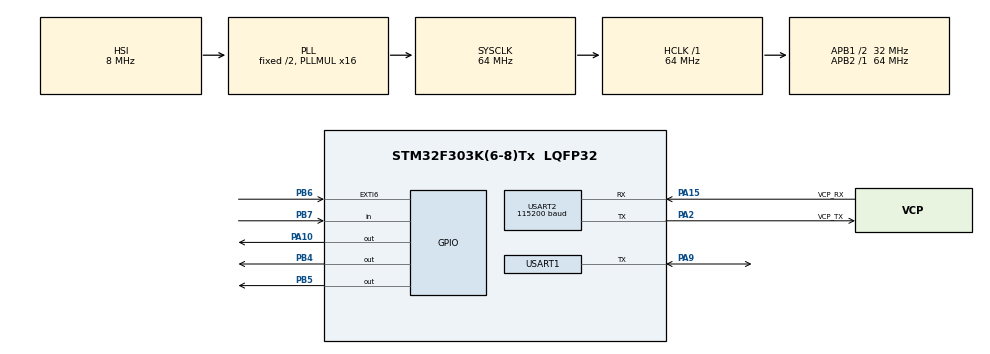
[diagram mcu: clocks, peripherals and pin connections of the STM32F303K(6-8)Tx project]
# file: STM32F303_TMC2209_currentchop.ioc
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Mcu.Family=STM32F3
Mcu.Name=STM32F303K(6-8)Tx
Mcu.Package=LQFP32
NVIC.EXTI9_5_IRQn=true\:0\:0\:false\:false\:true\:true\:true\:true
NVIC.PriorityGroup=NVIC_PRIORITYGROUP_4
NVIC.TIM3_IRQn=true\:0\:0\:false\:false\:true\:true\:true\:true
NVIC.USART2_IRQn=true\:0\:0\:false\:false\:true\:true\:true\:true
PA10.Signal=GPIO_Output
PA13.GPIO_Label=SWDIO
PA13.Mode=Serial_Wire
PA13.Signal=SYS_JTMS-SWDIO
PA14.GPIO_Label=SWCLK
PA14.Mode=Serial_Wire
PA14.Signal=SYS_JTCK-SWCLK
PA15.GPIO_Label=VCP_RX
PA15.Mode=Asynchronous
PA15.Signal=USART2_RX
PA2.GPIO_Label=VCP_TX
PA2.Mode=Asynchronous
PA2.Signal=USART2_TX
PA9.Mode=Half_duplex(single_wire_mode)
PA9.Signal=USART1_TX
PB4.Signal=GPIO_Output
PB5.Signal=GPIO_Output
PB6.GPIO_ModeDefaultEXTI=GPIO_MODE_IT_RISING_FALLING
PB6.Signal=GPXTI6
PB7.Signal=GPIO_Input
PF0\ /\ OSC_IN.GPIO_Label=MCO
PF0\ /\ OSC_IN.Signal=RCC_OSC_IN
ProjectManager.HeapSize=0x200
ProjectManager.StackSize=0x400
ProjectManager.TargetToolchain=STM32CubeIDE
RCC.AHBFreq_Value=64000000
RCC.APB1CLKDivider=RCC_HCLK_DIV2
RCC.APB1Freq_Value=32000000
RCC.APB1TimFreq_Value=64000000
RCC.APB2Freq_Value=64000000
RCC.APB2TimFreq_Value=64000000
RCC.CortexFreq_Value=64000000
RCC.HCLKFreq_Value=64000000
RCC.HSE_VALUE=8000000
RCC.HSI_VALUE=8000000
RCC.PLLMUL=RCC_PLL_MUL16
RCC.SYSCLKFreq_VALUE=64000000
RCC.SYSCLKSourceVirtual=RCC_SYSCLKSOURCE_PLLCLK
TIM3.Channel-Output\ Compare1\ No\ Output=TIM_CHANNEL_1
TIM3.Prescaler=1280-1
USART1.BaudRate=115200
USART1.VirtualMode-Half_duplex(single_wire_mode)=VM_ASYNC
USART2.BaudRate=115200
USART2.VirtualMode-Asynchronous=VM_ASYNC
VP_TIM3_VS_ClockSourceINT.Mode=Internal
VP_TIM3_VS_no_output1.Mode=Output Compare1 No Output
board=NUCLEO-F303K8

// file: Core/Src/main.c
/* USER CODE BEGIN Header */
/**
  ******************************************************************************
  * @file           : main.c
  * @brief          : Main program body
  ******************************************************************************
  * @attention
  *
  * Copyright (c) 2022 STMicroelectronics.
  * All rights reserved.
  *
  * This software is licensed under terms that can be found in the LICENSE file
  * in the root directory of this software component.
  * If no LICENSE file comes with this software, it is provided AS-IS.
  *
  ******************************************************************************
  */
/* USER CODE END Header */
#include "main.h"

/* USER CODE BEGIN Includes */
#include <stdio.h>
#include "tmc/ic/TMC2209/TMC2209.h"
#include <math.h>

/* USER CODE END Includes */

/* USER CODE BEGIN PTD */
typedef struct {
	float acceleration;
	volatile unsigned int minStepInterval;
	void (*dirFunc)(int);
	void (*stepFunc)();

	uint8_t homing;
	unsigned int c0;
	volatile int stepPosition;

	volatile int dir; // 1 or -1
	volatile int dir_inv; //set 1 to reverse the dir

	volatile int pull_off; //set pull_off distance

	volatile int seeking_vel;
	volatile int homing_vel;

	volatile unsigned int totalSteps;

	volatile char movementDone;
	volatile unsigned int rampUpStepCount;
	volatile unsigned int n; // index
	volatile float d; // current interval length
	volatile unsigned long di; // d -> unsigned  di
	volatile unsigned int stepCount;
}stepperInfo;

/* USER CODE END PTD */

/* USER CODE BEGIN PD */
#define TMC2209_CRC(data, length) tmc_CRC8(data, length, 1)
#define NUM_STEPPERS 1

/* USER CODE END PD */

 TIM_HandleTypeDef htim3;

UART_HandleTypeDef huart1;
UART_HandleTypeDef huart2;

/* USER CODE BEGIN PV */
//static TMC2209TypeDef TMC2209; //TMC2209の設定などの定義
//static ConfigurationTypeDef *TMC2209_config; //TMC2209の設定
TMC2209TypeDef TMC2209; //TMC2209の設定などの定義
ConfigurationTypeDef TMC2209_config; //TMC2209の設定
volatile stepperInfo steppers[NUM_STEPPERS];
uint8_t end_stop_state = 0;
uint8_t homing_flag = 0;
/* USER CODE END PV */

void SystemClock_Config(void);
static void MX_GPIO_Init(void);
static void MX_USART2_UART_Init(void);
static void MX_USART1_UART_Init(void);
static void MX_TIM3_Init(void);
/* USER CODE BEGIN PFP */
static void periodicJob(uint32_t tick);
static uint8_t reset(void);
static uint8_t restore(void);
//static TMC2209TypeDef TMC2209;

/* USER CODE END PFP */

/* USER CODE BEGIN 0 */

/*void HAL_TIM_PeriodElapsedCallback(TIM_HandleTypeDef *htim)
{
    if (htim == &htim3){ //htim3に設定したタイマー割り込みの時間で発火する
        HAL_GPIO_TogglePin(GPIOB, GPIO_PIN_10);//ピンの出力を切り替え
    }
}*/

void tmc2209_readWriteArray(uint8_t channel, uint8_t *data, size_t writeLength, size_t readLength)
{
	//set your uart read write
	//UART_readWrite(channelToUART(channel), data, writeLength, readLength);
	HAL_HalfDuplex_EnableTransmitter(&huart1);
	HAL_UART_Transmit(&huart1, data, writeLength,3000);

	if(readLength > 0){
		HAL_HalfDuplex_EnableReceiver(&huart1);
		HAL_UART_Receive(&huart1, data, readLength, 3000);
	}
}

uint8_t tmc2209_CRC8(uint8_t *data, size_t length)
{
	return TMC2209_CRC(data, length);
}

static void periodicJob(uint32_t tick)
{

	tmc2209_periodicJob(&TMC2209, tick);

	//StepDir_periodicJob(0);
}

static uint8_t reset()
{
	//StepDir_init(STEPDIR_PRECISION);
	//StepDir_setPins(0, Pins.STEP, Pins.DIR, Pins.DIAG);

	return tmc2209_reset(&TMC2209);
}

static uint8_t restore()
{
	return tmc2209_restore(&TMC2209);
}

void TMC2209_INIT()
{
	tmc_fillCRC8Table(0x07, true, 1);

	TMC2209_config.reset = reset;
	TMC2209_config.restore = restore;
	tmc2209_init(&TMC2209, 0, 0, &TMC2209_config, &tmc2209_defaultRegisterResetState[0]);

	//restore();
}

static inline TMC2209TypeDef *motorToIC(uint8_t motor)
{
	UNUSED(motor);

	return &TMC2209;
}

void HAL_GPIO_EXTI_Callback(uint16_t GPIO_Pin)
{

	//stepper 0 end stop senssor
	if(GPIO_Pin == GPIO_PIN_10 ){
		if(!HAL_GPIO_ReadPin(GPIOA, GPIO_PIN_10)){
			end_stop_state |= 1;
		}
		if(HAL_GPIO_ReadPin(GPIOA, GPIO_PIN_10)){
			end_stop_state &= ~1;
		}
	}
}

void sensorStateInit(){							//割り込みリセット
	if( ! HAL_GPIO_ReadPin(GPIOA, GPIO_PIN_10)){	//割り込みピンが真でない(1でない=0なら)
		end_stop_state |= 1;					//end_stop_stateに左辺か右辺が1なら1を代入
	}
}

void Step0(){
	//pull+

	HAL_GPIO_WritePin(GPIOB, GPIO_PIN_5, GPIO_PIN_RESET);
	HAL_GPIO_WritePin(GPIOB, GPIO_PIN_5, GPIO_PIN_SET);
	/*
	 * pull-
	 * HAL_GPIO_WritePin(GPIOB, GPIO_PIN_5, GPIO_PIN_SET);
	 * HAL_GPIO_WritePin(GPIOB, GPIO_PIN_5, GPIO_PIN_RESET);
	 */
}

void Dir0(int dir){
	HAL_GPIO_WritePin(GPIOB, GPIO_PIN_4, dir);
}

void resetStepperInfo(stepperInfo * si){
	si->n = 0;
	si->d = 0;
	si->di = 0;
	si->stepCount = 0;
	si->rampUpStepCount = 0;
	si->totalSteps = 0;
	si->stepPosition = 0;
	si->movementDone = 0;
}

void resetStepper(volatile stepperInfo* si){
	si->c0 = si->acceleration;
	si->d = si->c0;
	si->di = si->d;
	si->stepCount = 0;
	si->n = 0;
	si->rampUpStepCount = 0;
	si->movementDone = 0;
}

volatile uint8_t remainingSteppersFlag = 0;

void prepareMovement(int whichMotor, int steps){
	if(steps == 0){
		return;
	}
	volatile stepperInfo* si = &steppers[whichMotor];
	if(si->dir_inv){
		si->dirFunc( steps < 0 ? 0 : 1);
		si->dir = steps > 0 ? -1:1;
	}else{
		si->dirFunc( steps < 0 ? 1 : 0);
		si->dir = steps > 0 ? 1:-1;
	}

	si->totalSteps = abs(steps);
	resetStepper(si);
	remainingSteppersFlag |= (1 << whichMotor);
	printf("prepareMovement:\r\n");
}

void prepareAbsoluteMovement(int whichMotor, int absolute_steps){
	printf("absolute_steps:%d\r\n",absolute_steps);
	volatile stepperInfo* si = &steppers[whichMotor];
	int steps = absolute_steps - si->stepPosition;
	if(steps == 0){
		return;
	}
	si->dirFunc(steps < 0 ? 1 : 0);
	si->dir = steps > 0 ? 1:-1;
	si->totalSteps = abs(steps);
	resetStepper(si);
	remainingSteppersFlag |= (1 << whichMotor);
	printf("prepareAbsoluteMovement:\r\n");
	printf("steps:%d\r\n",steps);
}

volatile uint8_t nextStepperFlag = 0;

void setNextInterruptInterval(){

	unsigned int mind = 999999;
	for (int i = 0; i < NUM_STEPPERS; i++){
		if( ((1 << i) & remainingSteppersFlag) && steppers[i].di < mind ){
			mind = steppers[i].di;
		}
	}

	nextStepperFlag = 0;
	for (int i = 0; i < NUM_STEPPERS; i ++){
		if( ((1 << i) & remainingSteppersFlag) && steppers[i].di == mind )
			nextStepperFlag |= (1 << i);
	}

	if (remainingSteppersFlag == 0){
		__HAL_TIM_SET_COMPARE(&htim3, TIM_CHANNEL_1, 65500);
	}

	__HAL_TIM_SET_COMPARE(&htim3, TIM_CHANNEL_1, mind);
	//printf("mind:%d\r\n",mind);
}

void HAL_TIM_OC_DelayElapsedCallback(TIM_HandleTypeDef *htim){
	//HAL_TIM_OC_Stop_IT(&htim3, TIM_CHANNEL_1);
	unsigned int tmpCtr = __HAL_TIM_GET_COMPARE(&htim3, TIM_CHANNEL_1);		//現在のコンペアの値を入れている
	__HAL_TIM_SET_COMPARE(&htim3, TIM_CHANNEL_1, 65500);

	for (int i = 0; i < NUM_STEPPERS; i++){
		if ( ! ( (1 << i) & remainingSteppersFlag )){
			continue;
		}

		if( homing_flag & (1 << i)){
			if(end_stop_state & (1 << i)){
				remainingSteppersFlag &= ~(1 << i);
				continue;
			}
		}

		if ( ! (nextStepperFlag & (1 << i)) ){
			steppers[i].di -= tmpCtr;
			continue;
		}

		volatile stepperInfo* s = &steppers[i];
		//printf("callback\n\r");

		if( (s->stepCount) < (s->totalSteps) ){
			s->stepFunc();
			s->stepCount++;
			s->stepPosition += s->dir;
			if ( (s->stepCount) >= (s->totalSteps) ){
				s->movementDone = 1;
				remainingSteppersFlag &= ~(1 << i);
			}
		}

		if (s->rampUpStepCount == 0){
			s->n++;
			s->d = s->d - (2*s->d) / (4*s->n +1);
			if (s->d <= s->minStepInterval ){
				s->d = s->minStepInterval;
				s->rampUpStepCount = s->stepCount;
			}
			if (s->stepCount >= (s->totalSteps / 2) ){
				s->rampUpStepCount = s->stepCount;
			}
		} else if ( s->stepCount >= s->totalSteps - s->rampUpStepCount) {
			s->d = (s->d * (4 * s->n + 1)) / (4 * s->n + 1 -2);
			s->n--;
		}
		s->di = s->d;
		//printf("s->di:%ld \r\n",s->di);
	}

	setNextInterruptInterval();

	__HAL_TIM_SET_COUNTER(&htim3, 0);

}

void runAndWait(){
	setNextInterruptInterval();
	while(remainingSteppersFlag);
}

void stepperHoming(int whichMotor){
	homing_flag |= (1 << whichMotor);
	//seeking
	steppers[whichMotor].minStepInterval = steppers[whichMotor].seeking_vel;
	prepareMovement(whichMotor, -100000000);
	runAndWait();
	HAL_Delay(500);
	//pull-off

	homing_flag &= ~(1 << whichMotor);
	prepareMovement(whichMotor, steppers[whichMotor].pull_off);
	runAndWait();
	HAL_Delay(500);
	//homing

	homing_flag |= (1 << whichMotor);
	steppers[whichMotor].minStepInterval = steppers[whichMotor].homing_vel;
	prepareMovement(whichMotor, -100000000);
	runAndWait();
	HAL_Delay(500);
	//pull-off
	homing_flag &= ~(1 << whichMotor);
	prepareMovement(whichMotor, steppers[whichMotor].pull_off);
	runAndWait();
	HAL_Delay(500);

	steppers[whichMotor].stepPosition = 0;
	steppers[whichMotor].homing = 1;
	steppers[whichMotor].minStepInterval = 100;
	printf("homing:\r\n");

}

void TMCsetup(){
	int32_t mstep_value = 0;
	int32_t toff_value = 0;
	int32_t microstep_value = 0;
	int32_t stanby_value = 0;
	int32_t max_value = 0;
	mstep_value = TMC2209_FIELD_READ(&TMC2209, TMC2209_GCONF, TMC2209_MSTEP_REG_SELECT_MASK,TMC2209_MSTEP_REG_SELECT_SHIFT);	//uartでのmicrostepの有効化
	printf("mstep_before : %ld\r\n", mstep_value);
	mstep_value = 1;
	TMC2209_FIELD_UPDATE(&TMC2209, TMC2209_GCONF, TMC2209_MSTEP_REG_SELECT_MASK, TMC2209_MSTEP_REG_SELECT_SHIFT,mstep_value);
	tmc2209_periodicJob(&TMC2209, HAL_GetTick());
	mstep_value=TMC2209_FIELD_READ(&TMC2209, TMC2209_GCONF, TMC2209_MSTEP_REG_SELECT_MASK, TMC2209_MSTEP_REG_SELECT_SHIFT);
	printf("mstep_after : %ld\r\n", mstep_value);

	toff_value=TMC2209_FIELD_READ(&TMC2209, TMC2209_CHOPCONF, TMC2209_TOFF_MASK, TMC2209_TOFF_SHIFT);	//保持トルクの設定
	printf("toff_before : %ld\r\n", toff_value);
	toff_value = 3;
	TMC2209_FIELD_UPDATE(&TMC2209, TMC2209_CHOPCONF, TMC2209_TOFF_MASK, TMC2209_TOFF_SHIFT,toff_value);
	tmc2209_periodicJob(&TMC2209, HAL_GetTick());
	toff_value=TMC2209_FIELD_READ(&TMC2209, TMC2209_CHOPCONF, TMC2209_TOFF_MASK, TMC2209_TOFF_SHIFT);
	printf("toff_after : %ld\r\n", toff_value);

	microstep_value = 256 >> TMC2209_FIELD_READ(&TMC2209, TMC2209_CHOPCONF, TMC2209_MRES_MASK, TMC2209_MRES_SHIFT);	//microstepの設定
	printf("microstep_before : %ld\r\n", microstep_value);
	microstep_value = 4;
	TMC2209_FIELD_UPDATE(&TMC2209, TMC2209_CHOPCONF, TMC2209_MRES_MASK, TMC2209_MRES_SHIFT,microstep_value);
	tmc2209_periodicJob(&TMC2209, HAL_GetTick());
	microstep_value = 256 >> TMC2209_FIELD_READ(&TMC2209, TMC2209_CHOPCONF, TMC2209_MRES_MASK, TMC2209_MRES_SHIFT);
	printf("microstep_after : %ld\r\n", microstep_value);

	stanby_value=TMC2209_FIELD_READ(&TMC2209,TMC2209_IHOLD_IRUN, TMC2209_IHOLD_MASK, TMC2209_IHOLD_SHIFT);	//待機電流の設定
	printf("stanbycurrent_before: %ld\r\n", stanby_value);
	stanby_value = 10;
	TMC2209_FIELD_UPDATE(&TMC2209,TMC2209_IHOLD_IRUN, TMC2209_IHOLD_MASK, TMC2209_IHOLD_SHIFT, stanby_value);
	tmc2209_periodicJob(&TMC2209, HAL_GetTick());
	HAL_Delay(200);
	stanby_value=TMC2209_FIELD_READ(&TMC2209,TMC2209_IHOLD_IRUN, TMC2209_IHOLD_MASK, TMC2209_IHOLD_SHIFT);
	printf("stanbycurrent_after: %ld\r\n", stanby_value);

	max_value=TMC2209_FIELD_READ(&TMC2209, TMC2209_IHOLD_IRUN, TMC2209_IRUN_MASK, TMC2209_IRUN_SHIFT);	//最大電流の設定
	printf("maxumum_before: %ld\r\n", max_value);
	max_value = 10;
	TMC2209_FIELD_UPDATE(&TMC2209, TMC2209_IHOLD_IRUN, TMC2209_IRUN_MASK, TMC2209_IRUN_SHIFT, max_value);
	tmc2209_periodicJob(&TMC2209, HAL_GetTick());
	HAL_Delay(200);
	max_value=TMC2209_FIELD_READ(&TMC2209, TMC2209_IHOLD_IRUN, TMC2209_IRUN_MASK, TMC2209_IRUN_SHIFT);
	printf("maxumum_after: %ld\r\n", max_value);

}

int uartflag1=0;
char rxbuf[1];
void motorrotate()
{
	char motorrotate[] ="motorrotate\r\n";
	HAL_UART_Transmit(&huart2,(uint8_t *)motorrotate,sizeof(motorrotate),3000);

}
/* USER CODE END 0 */

int main(void)
{
  /* USER CODE BEGIN 1 */
	setbuf(stdout, NULL);

  /* USER CODE END 1 */

  /* MCU Configuration--------------------------------------------------------*/

  /* Reset of all peripherals, Initializes the Flash interface and the Systick. */
  HAL_Init();

  /* Configure the system clock */
  SystemClock_Config();

  /* Initialize all configured peripherals */
  MX_GPIO_Init();
  MX_USART2_UART_Init();
  MX_USART1_UART_Init();
  MX_TIM3_Init();
  /* USER CODE BEGIN 2 */
  steppers[0].dirFunc = Dir0;
  steppers[0].stepFunc = Step0;
  steppers[0].acceleration = 5000;
  steppers[0].minStepInterval = 100;
  steppers[0].homing = 0;
  steppers[0].dir_inv = 1;
  steppers[0].seeking_vel = 100;
  steppers[0].homing_vel = 200;
  steppers[0].pull_off = 500;
     //Stepper 1 enable
    //pull+
  //HAL_GPIO_WritePin(GPIOB, GPIO_PIN_10, GPIO_PIN_SET);
    //pull-
    //HAL_GPIO_WritePin(GPIOB, GPIO_PIN_10, GPIO_PIN_RESET);

  HAL_TIM_OC_Start_IT(&htim3, TIM_CHANNEL_1);
  //int getserial=0;
  TMC2209_INIT();
  TMCsetup();

  printf("Hello\r\n");

  int i;
   char rxbuf[1];
   char start[] ="1:front,2:back\r\n";
   char front[] ="front turn\r\n";
   char back[] ="back turn\r\n";
   char nonans[] ="Not Understand \r\n";

   //HAL_TIM_OC_Start_IT(&htim3, TIM_CHANNEL_1);

  //printf("Start \r\n");

  //uint8_t rxbuf[1];
   //int32_t *value=3;

   //TMC2209_FIELD_UPDATE(&TMC2209, TMC2209_CHOPCONF, TMC2209_MRES_MASK, TMC2209_MRES_SHIFT, 3 );

  /* USER CODE END 2 */

  /* Infinite loop */
  while (1)
  {

    /* USER CODE BEGIN 3 */
	  //example read register value
	  //int32_t value = 0;
	  HAL_UART_Receive(&huart2,(uint8_t *)rxbuf, sizeof(rxbuf), 100);
	  //tmc2209_writeInt(&TMC2209, TMC2209_TSTEP, 16);

	  	  //tmc2209_writeInt(&TMC2209, TMC2209_ENN_MASK, 0);

	  if (rxbuf[0] != 0){
	  		printf("rxbuf : %d\r\n",rxbuf[0]);

	  	if(rxbuf[0] == '1'){
	  		//HAL_UART_Transmit_IT(&huart2,(uint8_t *)front, sizeof(front));
	  		printf("1:start");
	  		prepareAbsoluteMovement(0,5000);
	  		runAndWait();
	  		HAL_Delay(100);
	  		prepareAbsoluteMovement(0,-5000);
	  		runAndWait();
	  		HAL_Delay(100);
	  		printf("1:end");

	  		rxbuf[0]=0;

	  		}
	  	else if(rxbuf[0] == '2'){

	  		//HAL_UART_Transmit_IT(&huart2,(uint8_t *)back, sizeof(back));
	  		runAndWait();
	  		HAL_Delay(100);
	  		//HAL_Delay(100);

	  		rxbuf[0]=0;
	  	}
	  	else{
	  		HAL_UART_Transmit_IT(&huart2,(uint8_t *)nonans, sizeof(nonans));
	  		rxbuf[0]=0;
	  	}

	  }

	  //HAL_Delay(100);
  }

  /* USER CODE END 3 */
}

void SystemClock_Config(void)
{
  RCC_OscInitTypeDef RCC_OscInitStruct = {0};
  RCC_ClkInitTypeDef RCC_ClkInitStruct = {0};
  RCC_PeriphCLKInitTypeDef PeriphClkInit = {0};

  /** Initializes the RCC Oscillators according to the specified parameters
  * in the RCC_OscInitTypeDef structure.
  */
  RCC_OscInitStruct.OscillatorType = RCC_OSCILLATORTYPE_HSI;
  RCC_OscInitStruct.HSIState = RCC_HSI_ON;
  RCC_OscInitStruct.HSICalibrationValue = RCC_HSICALIBRATION_DEFAULT;
  RCC_OscInitStruct.PLL.PLLState = RCC_PLL_ON;
  RCC_OscInitStruct.PLL.PLLSource = RCC_PLLSOURCE_HSI;
  RCC_OscInitStruct.PLL.PLLMUL = RCC_PLL_MUL16;
  if (HAL_RCC_OscConfig(&RCC_OscInitStruct) != HAL_OK)
  {
    Error_Handler();
  }

  /** Initializes the CPU, AHB and APB buses clocks
  */
  RCC_ClkInitStruct.ClockType = RCC_CLOCKTYPE_HCLK|RCC_CLOCKTYPE_SYSCLK
                              |RCC_CLOCKTYPE_PCLK1|RCC_CLOCKTYPE_PCLK2;
  RCC_ClkInitStruct.SYSCLKSource = RCC_SYSCLKSOURCE_PLLCLK;
  RCC_ClkInitStruct.AHBCLKDivider = RCC_SYSCLK_DIV1;
  RCC_ClkInitStruct.APB1CLKDivider = RCC_HCLK_DIV2;
  RCC_ClkInitStruct.APB2CLKDivider = RCC_HCLK_DIV1;

  if (HAL_RCC_ClockConfig(&RCC_ClkInitStruct, FLASH_LATENCY_2) != HAL_OK)
  {
    Error_Handler();
  }
  PeriphClkInit.PeriphClockSelection = RCC_PERIPHCLK_USART1;
  PeriphClkInit.Usart1ClockSelection = RCC_USART1CLKSOURCE_PCLK1;
  if (HAL_RCCEx_PeriphCLKConfig(&PeriphClkInit) != HAL_OK)
  {
    Error_Handler();
  }
}

static void MX_TIM3_Init(void)
{

  TIM_ClockConfigTypeDef sClockSourceConfig = {0};
  TIM_MasterConfigTypeDef sMasterConfig = {0};
  TIM_OC_InitTypeDef sConfigOC = {0};

  htim3.Instance = TIM3;
  htim3.Init.Prescaler = 1280-1;
  htim3.Init.CounterMode = TIM_COUNTERMODE_UP;
  htim3.Init.Period = 65535;
  htim3.Init.ClockDivision = TIM_CLOCKDIVISION_DIV1;
  htim3.Init.AutoReloadPreload = TIM_AUTORELOAD_PRELOAD_DISABLE;
  if (HAL_TIM_Base_Init(&htim3) != HAL_OK)
  {
    Error_Handler();
  }
  sClockSourceConfig.ClockSource = TIM_CLOCKSOURCE_INTERNAL;
  if (HAL_TIM_ConfigClockSource(&htim3, &sClockSourceConfig) != HAL_OK)
  {
    Error_Handler();
  }
  if (HAL_TIM_OC_Init(&htim3) != HAL_OK)
  {
    Error_Handler();
  }
  sMasterConfig.MasterOutputTrigger = TIM_TRGO_RESET;
  sMasterConfig.MasterSlaveMode = TIM_MASTERSLAVEMODE_DISABLE;
  if (HAL_TIMEx_MasterConfigSynchronization(&htim3, &sMasterConfig) != HAL_OK)
  {
    Error_Handler();
  }
  sConfigOC.OCMode = TIM_OCMODE_TIMING;
  sConfigOC.Pulse = 0;
  sConfigOC.OCPolarity = TIM_OCPOLARITY_HIGH;
  sConfigOC.OCFastMode = TIM_OCFAST_DISABLE;
  if (HAL_TIM_OC_ConfigChannel(&htim3, &sConfigOC, TIM_CHANNEL_1) != HAL_OK)
  {
    Error_Handler();
  }

}

static void MX_USART1_UART_Init(void)
{

  huart1.Instance = USART1;
  huart1.Init.BaudRate = 115200;
  huart1.Init.WordLength = UART_WORDLENGTH_8B;
  huart1.Init.StopBits = UART_STOPBITS_1;
  huart1.Init.Parity = UART_PARITY_NONE;
  huart1.Init.Mode = UART_MODE_TX_RX;
  huart1.Init.HwFlowCtl = UART_HWCONTROL_NONE;
  huart1.Init.OverSampling = UART_OVERSAMPLING_16;
  huart1.Init.OneBitSampling = UART_ONE_BIT_SAMPLE_DISABLE;
  huart1.AdvancedInit.AdvFeatureInit = UART_ADVFEATURE_NO_INIT;
  if (HAL_HalfDuplex_Init(&huart1) != HAL_OK)
  {
    Error_Handler();
  }

}

static void MX_USART2_UART_Init(void)
{

  huart2.Instance = USART2;
  huart2.Init.BaudRate = 115200;
  huart2.Init.WordLength = UART_WORDLENGTH_8B;
  huart2.Init.StopBits = UART_STOPBITS_1;
  huart2.Init.Parity = UART_PARITY_NONE;
  huart2.Init.Mode = UART_MODE_TX_RX;
  huart2.Init.HwFlowCtl = UART_HWCONTROL_NONE;
  huart2.Init.OverSampling = UART_OVERSAMPLING_16;
  huart2.Init.OneBitSampling = UART_ONE_BIT_SAMPLE_DISABLE;
  huart2.AdvancedInit.AdvFeatureInit = UART_ADVFEATURE_NO_INIT;
  if (HAL_UART_Init(&huart2) != HAL_OK)
  {
    Error_Handler();
  }

}

static void MX_GPIO_Init(void)
{
  GPIO_InitTypeDef GPIO_InitStruct = {0};

  /* GPIO Ports Clock Enable */
  __HAL_RCC_GPIOF_CLK_ENABLE();
  __HAL_RCC_GPIOA_CLK_ENABLE();
  __HAL_RCC_GPIOB_CLK_ENABLE();

  /*Configure GPIO pin Output Level */
  HAL_GPIO_WritePin(GPIOA, GPIO_PIN_10, GPIO_PIN_RESET);

  /*Configure GPIO pin Output Level */
  HAL_GPIO_WritePin(GPIOB, GPIO_PIN_4|GPIO_PIN_5, GPIO_PIN_RESET);

  /*Configure GPIO pin : PA10 */
  GPIO_InitStruct.Pin = GPIO_PIN_10;
  GPIO_InitStruct.Mode = GPIO_MODE_OUTPUT_PP;
  GPIO_InitStruct.Pull = GPIO_NOPULL;
  GPIO_InitStruct.Speed = GPIO_SPEED_FREQ_LOW;
  HAL_GPIO_Init(GPIOA, &GPIO_InitStruct);

  /*Configure GPIO pins : PB4 PB5 */
  GPIO_InitStruct.Pin = GPIO_PIN_4|GPIO_PIN_5;
  GPIO_InitStruct.Mode = GPIO_MODE_OUTPUT_PP;
  GPIO_InitStruct.Pull = GPIO_NOPULL;
  GPIO_InitStruct.Speed = GPIO_SPEED_FREQ_LOW;
  HAL_GPIO_Init(GPIOB, &GPIO_InitStruct);

  /*Configure GPIO pin : PB6 */
  GPIO_InitStruct.Pin = GPIO_PIN_6;
  GPIO_InitStruct.Mode = GPIO_MODE_IT_RISING_FALLING;
  GPIO_InitStruct.Pull = GPIO_NOPULL;
  HAL_GPIO_Init(GPIOB, &GPIO_InitStruct);

  /*Configure GPIO pin : PB7 */
  GPIO_InitStruct.Pin = GPIO_PIN_7;
  GPIO_InitStruct.Mode = GPIO_MODE_INPUT;
  GPIO_InitStruct.Pull = GPIO_NOPULL;
  HAL_GPIO_Init(GPIOB, &GPIO_InitStruct);

  /* EXTI interrupt init*/
  HAL_NVIC_SetPriority(EXTI9_5_IRQn, 0, 0);
  HAL_NVIC_EnableIRQ(EXTI9_5_IRQn);

}

/* USER CODE BEGIN 4 */
int _write(int file, char *ptr, int len)
{
  HAL_UART_Transmit(&huart2,(uint8_t *)ptr,len,10);
  return len;
}

void HAL_UART_RxCpltCallback(UART_HandleTypeDef *huart)
{
	motorrotate();

	HAL_UART_Receive_IT(&huart2,(uint8_t *)rxbuf, 1);
	uartflag1 = 1;

}

//int _write(int file, char *ptr, int len)
//{
//  int DataIdx;
//  for(DataIdx=0; DataIdx<len; DataIdx++)
//  {
//    ITM_SendChar(*ptr++);
//  }
//  return len;
//}

/* USER CODE END 4 */

void Error_Handler(void)
{
  __disable_irq();
  while (1)
  {
  }
}
